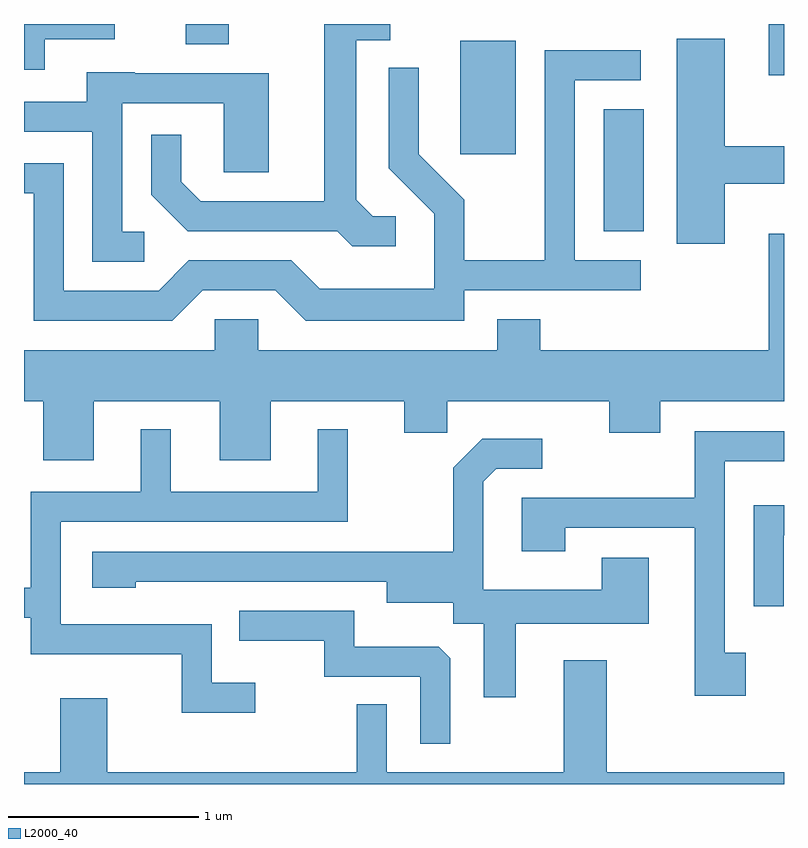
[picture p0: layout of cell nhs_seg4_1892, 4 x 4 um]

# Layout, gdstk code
import gdstk
lib = gdstk.Library(unit=1e-6, precision=1e-09)
def R(c, l, rs):  # rectangles x0, y0, x1, y1
    for r in rs: c.add(gdstk.rectangle(r[:2], r[2:], *l))
def P(c, l, *ps):  # polygons
    for p in ps: c.add(gdstk.Polygon(p, *l))
L2000_40 = (2000, 40)

nhs_seg4_1892 = lib.new_cell('nhs_seg4_1892')
R(nhs_seg4_1892, L2000_40, [(242.661,1368.891,242.874,1369.534), (241.906,1369.296,242.199,1369.894), (243.531,1369.711,243.611,1369.982), (240.461,1369.876,240.689,1369.982)])
P(nhs_seg4_1892, L2000_40, [(241.568,1368.969),(241.447,1368.969),(241.359,1369.057),(241.359,1369.896),(241.538,1369.896),(241.538,1369.982),(241.191,1369.982),(241.191,1369.049),(240.542,1369.049),(240.439,1369.152),(240.439,1369.398),(240.281,1369.398),(240.281,1369.084),(240.474,1368.891),(241.259,1368.891),(241.339,1368.811),(241.568,1368.811)],
  [(239.719,1369.901),(240.088,1369.901),(240.088,1369.982),(239.611,1369.982),(239.611,1369.741),(239.719,1369.741)],
  [(243.299,1369.141),(243.611,1369.141),(243.611,1369.339),(243.299,1369.339),(243.299,1369.904),(243.046,1369.904),(243.046,1368.826),(243.299,1368.826)],
  [(240.552,1368.581),(240.934,1368.581),(241.094,1368.421),(241.929,1368.421),(241.929,1368.581),(242.858,1368.581),(242.858,1368.739),(242.509,1368.739),(242.509,1369.686),(242.858,1369.686),(242.858,1369.844),(242.351,1369.844),(242.351,1368.739),(241.929,1368.739),(241.929,1369.057),(241.689,1369.297),(241.689,1369.753),(241.531,1369.753),(241.531,1369.224),(241.771,1368.984),(241.771,1368.589),(241.167,1368.589),(241.017,1368.739),(240.479,1368.739),(240.319,1368.579),(239.819,1368.579),(239.819,1369.249),(239.611,1369.249),(239.611,1369.091),(239.661,1369.091),(239.661,1368.421),(240.392,1368.421)],
  [(240.243,1368.889),(240.129,1368.889),(240.129,1369.566),(240.661,1369.566),(240.661,1369.201),(240.899,1369.201),(240.899,1369.724),(240.195,1369.724),(240.195,1369.729),(239.941,1369.729),(239.941,1369.574),(239.611,1369.574),(239.611,1369.416),(239.971,1369.416),(239.971,1368.731),(240.243,1368.731)],
  [(239.979,1367.996),(240.641,1367.996),(240.641,1367.686),(240.909,1367.686),(240.909,1367.996),(241.611,1367.996),(241.611,1367.831),(241.839,1367.831),(241.839,1367.996),(242.691,1367.996),(242.691,1367.831),(242.959,1367.831),(242.959,1367.996),(243.611,1367.996),(243.611,1368.879),(243.531,1368.879),(243.531,1368.264),(242.329,1368.264),(242.329,1368.429),(242.101,1368.429),(242.101,1368.264),(240.844,1368.264),(240.844,1368.429),(240.616,1368.429),(240.616,1368.264),(239.611,1368.264),(239.611,1367.996),(239.711,1367.996),(239.711,1367.686),(239.979,1367.686)],
  [(240.828,1366.514),(240.599,1366.514),(240.599,1366.824),(239.804,1366.824),(239.804,1367.361),(241.314,1367.361),(241.314,1367.848),(241.156,1367.848),(241.156,1367.519),(240.384,1367.519),(240.384,1367.848),(240.226,1367.848),(240.226,1367.519),(239.646,1367.519),(239.646,1367.014),(239.611,1367.014),(239.611,1366.856),(239.646,1366.856),(239.646,1366.666),(240.441,1366.666),(240.441,1366.356),(240.828,1366.356)],
  [(243.409,1366.674),(243.299,1366.674),(243.299,1367.681),(243.611,1367.681),(243.611,1367.839),(243.141,1367.839),(243.141,1367.489),(242.231,1367.489),(242.231,1367.206),(242.459,1367.206),(242.459,1367.331),(243.141,1367.331),(243.141,1366.446),(243.409,1366.446)],
  [(242.199,1366.826),(242.899,1366.826),(242.899,1367.174),(242.651,1367.174),(242.651,1367.004),(242.029,1367.004),(242.029,1367.574),(242.097,1367.641),(242.338,1367.641),(242.338,1367.799),(242.024,1367.799),(241.871,1367.647),(241.871,1367.204),(239.971,1367.204),(239.971,1367.016),(240.199,1367.016),(240.199,1367.046),(241.521,1367.046),(241.521,1366.936),(241.871,1366.936),(241.871,1366.826),(242.031,1366.826),(242.031,1366.438),(242.199,1366.438)],
  [(243.609,1367.291),(243.611,1367.291),(243.611,1367.449),(243.451,1367.449),(243.451,1366.918),(243.609,1366.918)],
  [(241.854,1366.644),(241.794,1366.704),(241.349,1366.704),(241.349,1366.894),(240.743,1366.894),(240.743,1366.736),(241.191,1366.736),(241.191,1366.546),(241.696,1366.546),(241.696,1366.193),(241.854,1366.193)],
  [(243.611,1366.044),(242.679,1366.044),(242.679,1366.634),(242.451,1366.634),(242.451,1366.044),(241.519,1366.044),(241.519,1366.403),(241.361,1366.403),(241.361,1366.044),(240.049,1366.044),(240.049,1366.434),(239.801,1366.434),(239.801,1366.044),(239.611,1366.044),(239.611,1365.982),(243.611,1365.982)])

lib.write_gds('nhs_seg4_1892.gds')
